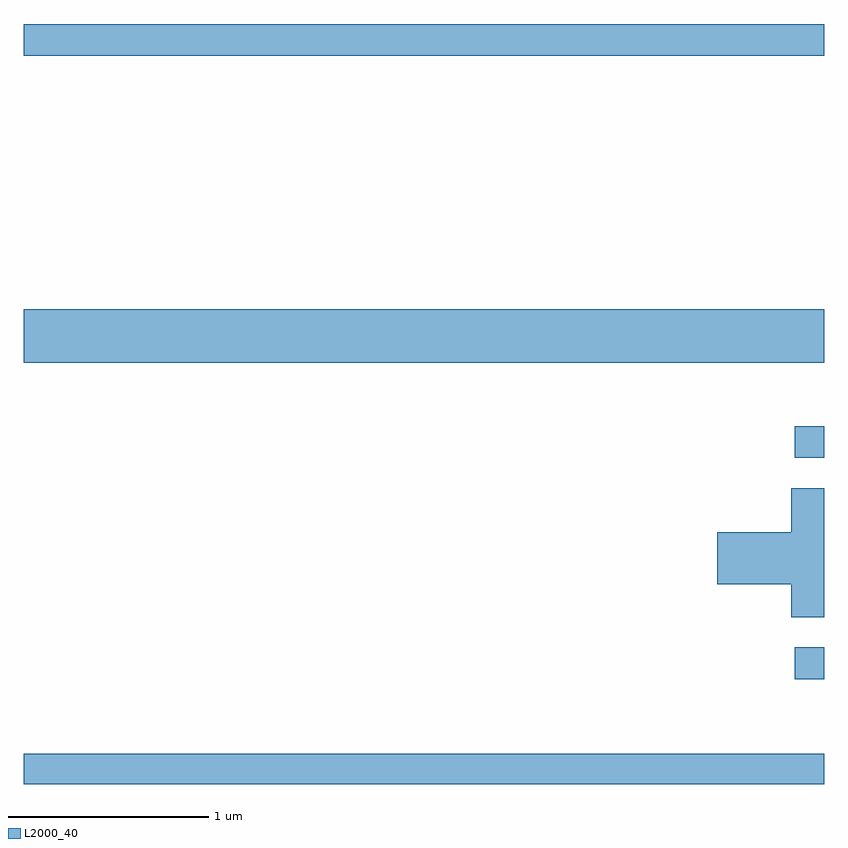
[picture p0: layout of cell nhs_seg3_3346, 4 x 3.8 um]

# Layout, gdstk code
import gdstk
lib = gdstk.Library(unit=1e-6, precision=1e-09)
def R(c, l, rs):  # rectangles x0, y0, x1, y1
    for r in rs: c.add(gdstk.rectangle(r[:2], r[2:], *l))
def P(c, l, *ps):  # polygons
    for p in ps: c.add(gdstk.Polygon(p, *l))
L2000_40 = (2000, 40)

nhs_seg3_3346 = lib.new_cell('nhs_seg3_3346')
R(nhs_seg3_3346, L2000_40, [(283.611,1143.892,287.611,1144.044), (287.463,1144.416,287.611,1144.574), (287.463,1145.521,287.611,1145.679), (283.611,1145.996,287.611,1146.264), (283.611,1147.531,287.611,1147.689)])
P(nhs_seg3_3346, L2000_40, [(287.611,1145.369),(287.446,1145.369),(287.446,1145.149),(287.076,1145.149),(287.076,1144.891),(287.446,1144.891),(287.446,1144.726),(287.611,1144.726)])

lib.write_gds('nhs_seg3_3346.gds')
